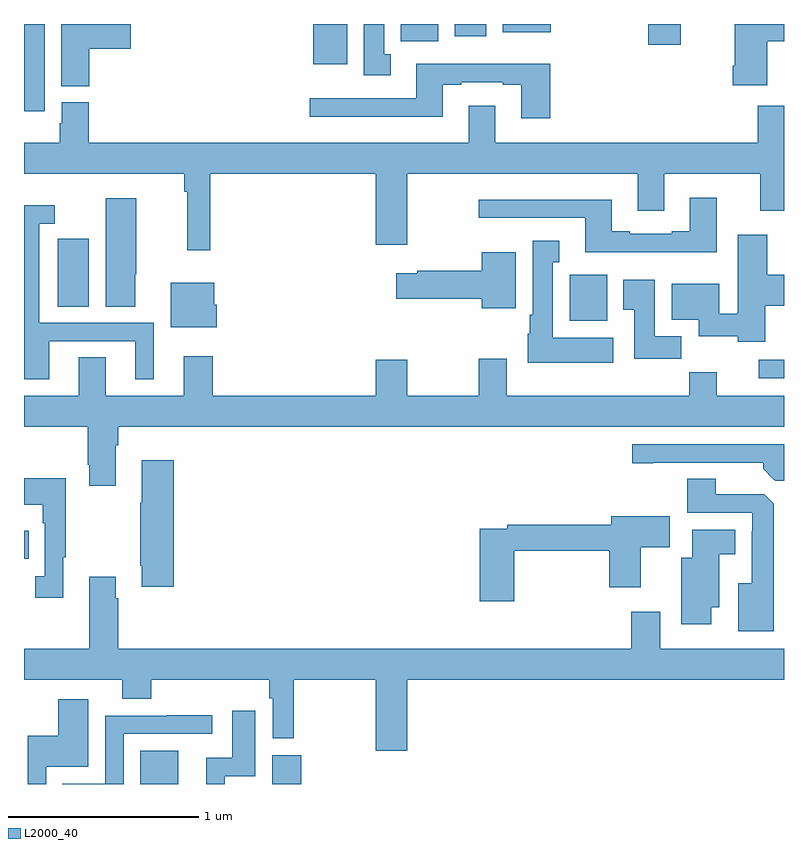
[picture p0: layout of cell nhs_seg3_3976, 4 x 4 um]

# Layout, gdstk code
import gdstk
lib = gdstk.Library(unit=1e-6, precision=1e-09)
def R(c, l, rs):  # rectangles x0, y0, x1, y1
    for r in rs: c.add(gdstk.rectangle(r[:2], r[2:], *l))
def P(c, l, *ps):  # polygons
    for p in ps: c.add(gdstk.Polygon(p, *l))
L2000_40 = (2000, 40)

nhs_seg3_3976 = lib.new_cell('nhs_seg3_3976')
R(nhs_seg3_3976, L2000_40, [(319.613,668.4,319.813,668.575), (320.306,668.4,320.459,668.551), (319,669.586,319.025,669.733), (322.866,670.536,323,670.632), (321.872,670.838,322.069,671.08), (319.178,670.912,319.342,671.269), (319,671.94,319.108,672.4), (320.522,672.188,320.701,672.4), (322.286,672.291,322.456,672.4), (320.984,672.308,321.181,672.4), (321.266,672.336,321.433,672.4), (321.521,672.356,321.772,672.4)])
P(nhs_seg3_3976, L2000_40, [(322.912,672.31),(323,672.31),(323,672.4),(322.742,672.4),(322.742,672.181),(322.73,672.181),(322.73,672.077),(322.912,672.077)],
  [(320.929,672.242),(320.896,672.242),(320.896,672.4),(320.789,672.4),(320.789,672.129),(320.929,672.129)],
  [(319.343,672.269),(319.561,672.269),(319.561,672.4),(319.196,672.4),(319.196,672.073),(319.343,672.073)],
  [(321.77,672.19),(321.065,672.19),(321.065,672.009),(320.505,672.009),(320.505,671.912),(321.205,671.912),(321.205,672.081),(321.301,672.081),(321.301,672.093),(321.521,672.093),(321.521,672.081),(321.617,672.081),(321.617,671.904),(321.77,671.904)],
  [(319.979,671.612),(320.852,671.612),(320.852,671.238),(321.016,671.238),(321.016,671.612),(322.229,671.612),(322.229,671.418),(322.369,671.418),(322.369,671.612),(322.874,671.612),(322.874,671.418),(323,671.418),(323,671.971),(322.862,671.971),(322.862,671.776),(321.481,671.776),(321.481,671.971),(321.341,671.971),(321.341,671.776),(319.34,671.776),(319.34,671.988),(319.199,671.988),(319.199,671.877),(319.187,671.877),(319.187,671.776),(319,671.776),(319,671.612),(319.843,671.612),(319.843,671.516),(319.858,671.516),(319.858,671.208),(319.979,671.208)],
  [(322.645,671.485),(322.505,671.485),(322.505,671.308),(322.409,671.308),(322.409,671.295),(322.189,671.295),(322.189,671.308),(322.093,671.308),(322.093,671.476),(321.393,671.476),(321.393,671.379),(321.953,671.379),(321.953,671.198),(322.645,671.198)],
  [(319.585,671.082),(319.591,671.082),(319.591,671.482),(319.43,671.482),(319.43,670.912),(319.585,670.912)],
  [(319.132,670.731),(319.586,670.731),(319.586,670.53),(319.684,670.53),(319.684,670.827),(319.08,670.827),(319.08,671.349),(319.162,671.349),(319.162,671.446),(319,671.446),(319,670.53),(319.132,670.53)],
  [(322.9,670.916),(323,670.916),(323,671.079),(322.912,671.079),(322.912,671.29),(322.757,671.29),(322.757,670.875),(322.66,670.875),(322.66,671.032),(322.409,671.032),(322.409,670.844),(322.55,670.844),(322.55,670.757),(322.757,670.757),(322.757,670.727),(322.9,670.727)],
  [(322.102,670.75),(321.784,670.75),(321.784,671.147),(321.817,671.147),(321.817,671.26),(321.677,671.26),(321.677,670.87),(321.662,670.87),(321.662,670.77),(321.65,670.77),(321.65,670.616),(322.102,670.616)],
  [(321.589,671.2),(321.41,671.2),(321.41,671.102),(321.07,671.102),(321.07,671.089),(320.958,671.089),(320.958,670.955),(321.41,670.955),(321.41,670.904),(321.589,670.904)],
  [(322.46,670.756),(322.321,670.756),(322.321,671.053),(322.154,671.053),(322.154,670.897),(322.211,670.897),(322.211,670.638),(322.46,670.638)],
  [(320.014,670.923),(320.002,670.923),(320.002,671.038),(319.772,671.038),(319.772,670.805),(320.014,670.805)],
  [(323,670.444),(322.645,670.444),(322.645,670.568),(322.501,670.568),(322.501,670.444),(321.541,670.444),(321.541,670.639),(321.394,670.639),(321.394,670.444),(321.016,670.444),(321.016,670.633),(320.852,670.633),(320.852,670.444),(319.994,670.444),(319.994,670.651),(319.841,670.651),(319.841,670.444),(319.429,670.444),(319.429,670.646),(319.289,670.646),(319.289,670.444),(319,670.444),(319,670.28),(319.336,670.28),(319.336,670.081),(319.343,670.081),(319.343,669.969),(319.483,669.969),(319.483,670.184),(319.496,670.184),(319.496,670.28),(323,670.28)],
  [(323,670.188),(322.2,670.188),(322.2,670.087),(322.312,670.087),(322.312,670.092),(322.892,670.092),(322.892,670.058),(322.944,670.005),(322.953,669.996),(323,669.996)],
  [(319.787,670.105),(319.619,670.105),(319.619,669.881),(319.612,669.881),(319.612,669.55),(319.619,669.55),(319.619,669.438),(319.787,669.438)],
  [(319.207,669.593),(319.219,669.593),(319.219,670.009),(319,670.009),(319,669.869),(319.098,669.869),(319.098,669.773),(319.11,669.773),(319.11,669.494),(319.059,669.494),(319.059,669.381),(319.207,669.381)],
  [(322.945,669.875),(322.896,669.924),(322.642,669.924),(322.642,670.007),(322.49,670.007),(322.49,669.828),(322.833,669.828),(322.833,669.731),(322.829,669.731),(322.829,669.457),(322.76,669.457),(322.76,669.203),(322.945,669.203)],
  [(321.581,669.628),(322.079,669.628),(322.079,669.435),(322.246,669.435),(322.246,669.646),(322.399,669.646),(322.399,669.808),(322.091,669.808),(322.091,669.764),(321.544,669.764),(321.544,669.744),(321.398,669.744),(321.398,669.363),(321.581,669.363)],
  [(322.618,669.329),(322.66,669.329),(322.66,669.608),(322.744,669.608),(322.744,669.739),(322.517,669.739),(322.517,669.592),(322.46,669.592),(322.46,669.24),(322.618,669.24)],
  [(321.016,668.948),(323,668.948),(323,669.112),(322.348,669.112),(322.348,669.307),(322.196,669.307),(322.196,669.112),(319.496,669.112),(319.496,669.377),(319.483,669.377),(319.483,669.49),(319.343,669.49),(319.343,669.112),(319,669.112),(319,668.948),(319.517,668.948),(319.517,668.849),(319.67,668.849),(319.67,668.948),(320.29,668.948),(320.29,668.852),(320.31,668.852),(320.31,668.64),(320.419,668.64),(320.419,668.948),(320.852,668.948),(320.852,668.574),(321.016,668.574)],
  [(319.116,668.492),(319.339,668.492),(319.339,668.845),(319.181,668.845),(319.181,668.655),(319.02,668.655),(319.02,668.4),(319.116,668.4)],
  [(320.056,668.442),(320.218,668.442),(320.218,668.785),(320.096,668.785),(320.096,668.538),(319.958,668.538),(319.958,668.4),(320.056,668.4)],
  [(319.524,668.664),(319.99,668.664),(319.99,668.762),(319.753,668.762),(319.753,668.76),(319.428,668.76),(319.428,668.401),(319.201,668.401),(319.201,668.4),(319.524,668.4)])

lib.write_gds('nhs_seg3_3976.gds')
